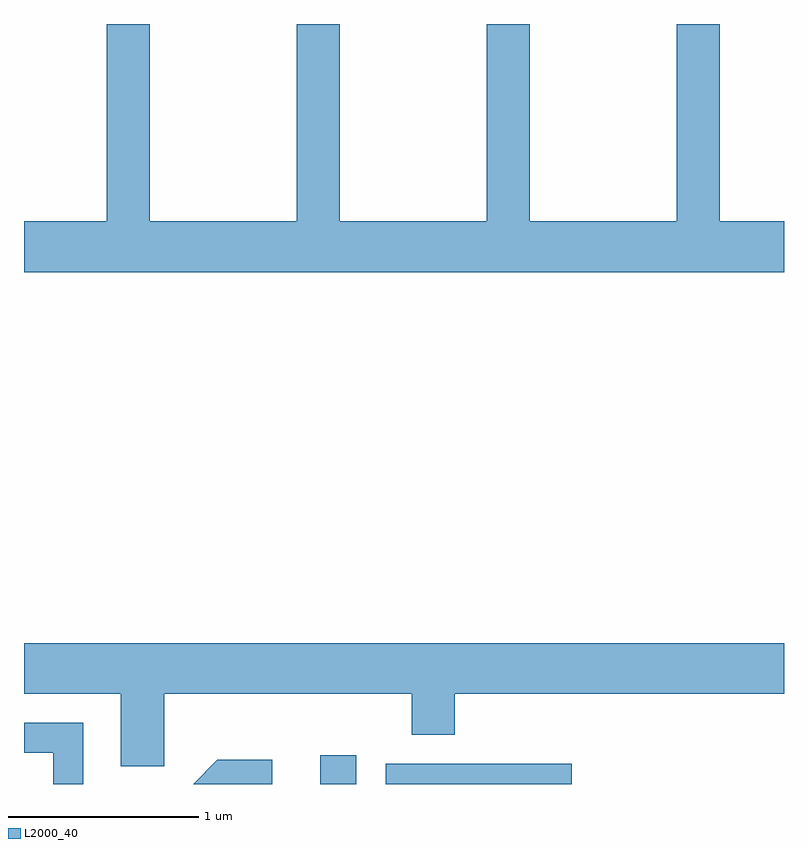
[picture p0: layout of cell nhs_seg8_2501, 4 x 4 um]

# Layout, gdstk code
import gdstk
lib = gdstk.Library(unit=1e-6, precision=1e-09)
def R(c, l, rs):  # rectangles x0, y0, x1, y1
    for r in rs: c.add(gdstk.rectangle(r[:2], r[2:], *l))
def P(c, l, *ps):  # polygons
    for p in ps: c.add(gdstk.Polygon(p, *l))
L2000_40 = (2000, 40)

nhs_seg8_2501 = lib.new_cell('nhs_seg8_2501')
R(nhs_seg8_2501, L2000_40, [(261.171,1880.342,261.359,1880.494), (261.516,1880.342,262.494,1880.449)])
P(nhs_seg8_2501, L2000_40, [(263.611,1883.304),(263.274,1883.304),(263.274,1884.342),(263.046,1884.342),(263.046,1883.304),(262.274,1883.304),(262.274,1884.342),(262.046,1884.342),(262.046,1883.304),(261.274,1883.304),(261.274,1884.342),(261.046,1884.342),(261.046,1883.304),(260.274,1883.304),(260.274,1884.342),(260.046,1884.342),(260.046,1883.304),(259.611,1883.304),(259.611,1883.036),(263.611,1883.036)],
  [(260.349,1880.816),(261.651,1880.816),(261.651,1880.601),(261.879,1880.601),(261.879,1880.816),(263.611,1880.816),(263.611,1881.084),(259.611,1881.084),(259.611,1880.816),(260.121,1880.816),(260.121,1880.436),(260.349,1880.436)],
  [(259.924,1880.664),(259.611,1880.664),(259.611,1880.506),(259.766,1880.506),(259.766,1880.342),(259.924,1880.342)],
  [(260.918,1880.469),(260.629,1880.469),(260.502,1880.342),(260.918,1880.342)])

lib.write_gds('nhs_seg8_2501.gds')
